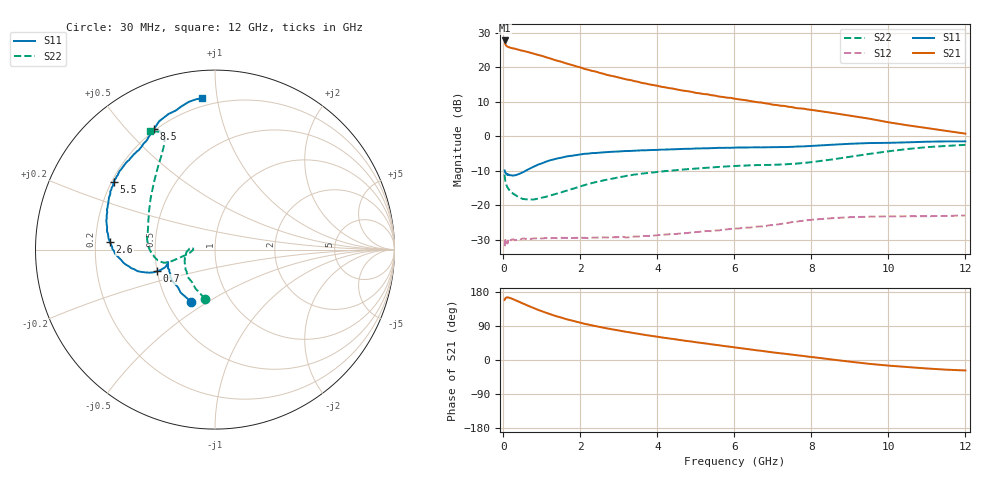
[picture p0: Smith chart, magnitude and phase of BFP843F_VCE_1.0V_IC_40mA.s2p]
! Infineon Technologies  Discrete & RF Semiconductors
! BFP843F
! VCE =  1.0 V,  IC =  40 mA
! Common Emitter S-Parameters:  Aug 2013
# GHz  S  MA  R  50
!  f  S11  S21  S12  S22
! GHz  MAG  ANG  MAG  ANG  MAG  ANG  MAG  ANG
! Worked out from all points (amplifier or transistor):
!   103 points, 30 MHz to 12 GHz, reference 50 ohm
!   highest |S21| = 27.8 dB at 30 MHz (marker M1)
!   |S21| within 3 dB of that: start of sweep to 507.9 MHz
!   unconditionally stable (mu >= 1): 55.19 MHz to end of sweep
!   at 400 MHz: K = 1.10, MAG = 25.5 dB, |S12| = -29.8 dB
!   at 3.7 GHz: K = 1.42, MAG = 18.2 dB, |S12| = -28.9 dB
!   at 12 GHz: K = 1.28, MAG = 8.7 dB, |S12| = -22.9 dB
!   S11 on the Smith chart (normalised r, x): 30 MHz: 0.66, -0.43; 700 MHz: 0.50, -0.14; 2.6 GHz: 0.26, +0.03; 5.5 GHz: 0.21, +0.29; 8.5 GHz: 0.19, +0.60; 12 GHz: 0.15, +0.91
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0.03  0.3205 -114.2  24.52 158.7  0.0256 28.4  0.2802 -101.3
0.04  0.3066 -128.6  22.71 160.0  0.027 22.5  0.2428 -116.5
0.05  0.2946 -134.4  21.62 162.8  0.0325 27.3  0.2228 -124.6
0.07  0.2911 -148.9  20.65 164.5  0.0291 14.5  0.1996 -142.6
0.1  0.2781 -156.4  19.97 165.1  0.0282 11.1  0.1837 -156.4
0.13  0.2761 -160.9  19.71 164.9  0.0309 8.3  0.1748 -164.7
0.5  0.3008 -160.2  17.4 149.4  0.0331 5.5  0.1238 176.7
0.7  0.3442 -159.4  16.29 140.6  0.0326 6.5  0.1215 178.4
1  0.4068 -161.8  14.66 128.7  0.0331 6.2  0.1292 -176.6
1.2  0.4476 -164.4  13.52 121.4  0.0332 7.4  0.1383 -173.7
1.4  0.4781 -167.5  12.45 114.7  0.0334 8.2  0.1484 -171.8
1.7  0.5171 -172.1  11.11 106.0  0.0338 8.8  0.1667 -169.5
2.1  0.5577 -177.7  9.51 95.7  0.0339 9.9  0.1956 -167.5
2.6  0.586 176.0  8.055 85.2  0.0343 14.3  0.2303 -165.7
3.2  0.6128 169.2  6.666 74.1  0.0342 16.2  0.2678 -165.2
4.1  0.6424 159.7  5.227 59.7  0.0373 22.1  0.3087 -167.3
5.5  0.6768 146.2  3.888 40.2  0.0432 27.2  0.3574 -178.0
6.1  0.6884 140.4  3.447 32.0  0.0462 28.1  0.3739 176.1
7  0.6971 130.5  2.872 20.0  0.0518 30.3  0.3867 165.8
8.5  0.7535 116.8  2.203 1.7  0.0649 24.6  0.4592 141.3
10.5  0.8185 103.4  1.444 -18.6  0.0695 16.2  0.6552 115.4
12  0.8452 94.9  1.094 -27.6  0.0713 15.6  0.7526 118.9
